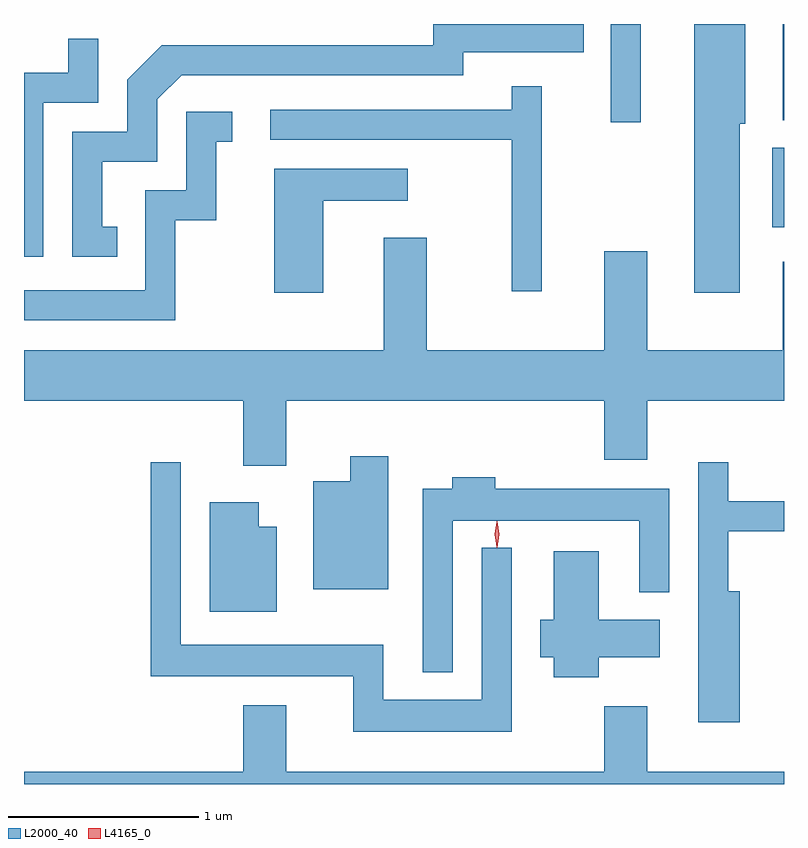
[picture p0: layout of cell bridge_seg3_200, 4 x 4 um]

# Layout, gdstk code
import gdstk
lib = gdstk.Library(unit=1e-6, precision=1e-09)
def R(c, l, rs):  # rectangles x0, y0, x1, y1
    for r in rs: c.add(gdstk.rectangle(r[:2], r[2:], *l))
def P(c, l, *ps):  # polygons
    for p in ps: c.add(gdstk.Polygon(p, *l))
L2000_40 = (2000, 40)
L4165_0 = (4165, 0)

bridge_seg3_200 = lib.new_cell('bridge_seg3_200')
R(bridge_seg3_200, L2000_40, [(1074.066,1153.571,1074.128,1153.989), (1073.216,1154.123,1073.374,1154.64), (1074.121,1154.133,1074.128,1154.64)])
P(bridge_seg3_200, L2000_40, [(1070.618,1153.574),(1070.539,1153.574),(1070.539,1153.916),(1070.829,1153.916),(1070.829,1154.244),(1070.957,1154.371),(1072.439,1154.371),(1072.439,1154.491),(1073.073,1154.491),(1073.073,1154.64),(1072.281,1154.64),(1072.281,1154.529),(1070.854,1154.529),(1070.671,1154.347),(1070.671,1154.074),(1070.381,1154.074),(1070.381,1153.416),(1070.618,1153.416)],
  [(1073.894,1154.116),(1073.924,1154.116),(1073.924,1154.64),(1073.656,1154.64),(1073.656,1153.226),(1073.894,1153.226)],
  [(1070.229,1154.226),(1070.519,1154.226),(1070.519,1154.563),(1070.361,1154.563),(1070.361,1154.384),(1070.128,1154.384),(1070.128,1153.416),(1070.229,1153.416)],
  [(1072.854,1154.313),(1072.696,1154.313),(1072.696,1154.189),(1071.423,1154.189),(1071.423,1154.031),(1072.696,1154.031),(1072.696,1153.233),(1072.854,1153.233)],
  [(1070.924,1153.606),(1071.139,1153.606),(1071.139,1154.021),(1071.223,1154.021),(1071.223,1154.179),(1070.981,1154.179),(1070.981,1153.764),(1070.766,1153.764),(1070.766,1153.239),(1070.128,1153.239),(1070.128,1153.081),(1070.924,1153.081)],
  [(1071.704,1153.711),(1072.148,1153.711),(1072.148,1153.879),(1071.446,1153.879),(1071.446,1153.226),(1071.704,1153.226)],
  [(1071.509,1152.656),(1073.181,1152.656),(1073.181,1152.346),(1073.409,1152.346),(1073.409,1152.656),(1074.128,1152.656),(1074.128,1153.388),(1074.121,1153.388),(1074.121,1152.924),(1073.409,1152.924),(1073.409,1153.444),(1073.181,1153.444),(1073.181,1152.924),(1072.249,1152.924),(1072.249,1153.514),(1072.021,1153.514),(1072.021,1152.924),(1070.128,1152.924),(1070.128,1152.656),(1071.281,1152.656),(1071.281,1152.316),(1071.509,1152.316)],
  [(1072.044,1152.364),(1071.846,1152.364),(1071.846,1152.234),(1071.651,1152.234),(1071.651,1151.666),(1072.044,1151.666)],
  [(1072.694,1151.883),(1072.536,1151.883),(1072.536,1151.084),(1072.019,1151.084),(1072.019,1151.374),(1070.954,1151.374),(1070.954,1152.333),(1070.796,1152.333),(1070.796,1151.206),(1071.861,1151.206),(1071.861,1150.916),(1072.694,1150.916)],
  [(1073.894,1151.654),(1073.834,1151.654),(1073.834,1151.971),(1074.128,1151.971),(1074.128,1152.129),(1073.834,1152.129),(1073.834,1152.333),(1073.676,1152.333),(1073.676,1150.966),(1073.894,1150.966)],
  [(1072.384,1152.026),(1073.366,1152.026),(1073.366,1151.648),(1073.524,1151.648),(1073.524,1152.194),(1072.609,1152.194),(1072.609,1152.254),(1072.381,1152.254),(1072.381,1152.194),(1072.226,1152.194),(1072.226,1151.228),(1072.384,1151.228)],
  [(1071.459,1151.994),(1071.364,1151.994),(1071.364,1152.124),(1071.106,1152.124),(1071.106,1151.546),(1071.459,1151.546)],
  [(1073.154,1151.306),(1073.474,1151.306),(1073.474,1151.504),(1073.154,1151.504),(1073.154,1151.864),(1072.916,1151.864),(1072.916,1151.504),(1072.846,1151.504),(1072.846,1151.306),(1072.916,1151.306),(1072.916,1151.201),(1073.154,1151.201)],
  [(1074.128,1150.704),(1073.409,1150.704),(1073.409,1151.049),(1073.181,1151.049),(1073.181,1150.704),(1071.509,1150.704),(1071.509,1151.054),(1071.281,1151.054),(1071.281,1150.704),(1070.128,1150.704),(1070.128,1150.64),(1074.128,1150.64)])
P(bridge_seg3_200, L4165_0, [(1072.616,1151.887),(1072.616,1151.888),(1072.606,1151.954),(1072.616,1152.02),(1072.616,1152.021),(1072.617,1152.02),(1072.626,1151.954),(1072.617,1151.888)],
  [(1072.617,1151.884),(1072.608,1151.954),(1072.617,1152.023),(1072.618,1152.023),(1072.618,1152.023),(1072.628,1151.954),(1072.618,1151.884),(1072.618,1151.884)])

lib.write_gds('bridge_seg3_200.gds')
